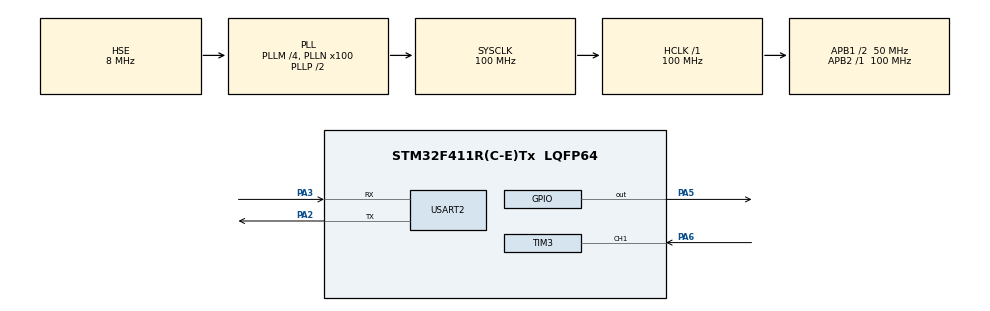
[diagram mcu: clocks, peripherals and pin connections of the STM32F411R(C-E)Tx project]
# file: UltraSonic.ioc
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Mcu.Family=STM32F4
Mcu.Name=STM32F411R(C-E)Tx
Mcu.Package=LQFP64
NVIC.PriorityGroup=NVIC_PRIORITYGROUP_4
NVIC.TIM3_IRQn=true\:0\:0\:false\:false\:true\:true\:true\:true
NVIC.USART2_IRQn=true\:0\:0\:false\:false\:true\:true\:true\:true
PA13.Mode=Serial_Wire
PA13.Signal=SYS_JTMS-SWDIO
PA14.Mode=Serial_Wire
PA14.Signal=SYS_JTCK-SWCLK
PA2.Mode=Asynchronous
PA2.Signal=USART2_TX
PA3.Mode=Asynchronous
PA3.Signal=USART2_RX
PA5.GPIO_Speed=GPIO_SPEED_FREQ_HIGH
PA5.Signal=GPIO_Output
PA6.Signal=S_TIM3_CH1
PH0\ -\ OSC_IN.Mode=HSE-External-Oscillator
PH0\ -\ OSC_IN.Signal=RCC_OSC_IN
PH1\ -\ OSC_OUT.Mode=HSE-External-Oscillator
PH1\ -\ OSC_OUT.Signal=RCC_OSC_OUT
ProjectManager.HeapSize=0x200
ProjectManager.StackSize=0x400
ProjectManager.TargetToolchain=STM32CubeIDE
RCC.48MHZClocksFreq_Value=50000000
RCC.AHBFreq_Value=100000000
RCC.APB1CLKDivider=RCC_HCLK_DIV2
RCC.APB1Freq_Value=50000000
RCC.APB1TimFreq_Value=100000000
RCC.APB2Freq_Value=100000000
RCC.APB2TimFreq_Value=100000000
RCC.CortexFreq_Value=100000000
RCC.HCLKFreq_Value=100000000
RCC.HSE_VALUE=8000000
RCC.HSI_VALUE=16000000
RCC.LSE_VALUE=32768
RCC.PLLM=4
RCC.PLLN=100
RCC.PLLSourceVirtual=RCC_PLLSOURCE_HSE
RCC.SYSCLKFreq_VALUE=100000000
RCC.SYSCLKSource=RCC_SYSCLKSOURCE_PLLCLK
RCC.VCOOutputFreq_Value=200000000
SH.S_TIM3_CH1.0=TIM3_CH1,Input_Capture1_from_TI1
TIM3.Channel-Input_Capture1_from_TI1=TIM_CHANNEL_1
TIM3.Prescaler=100-1
USART2.VirtualMode=VM_ASYNC
VP_TIM3_VS_ClockSourceINT.Mode=Internal
board=custom

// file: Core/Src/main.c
/* USER CODE BEGIN Header */
/**
  ******************************************************************************
  * @file           : main.c
  * @brief          : Main program body
  ******************************************************************************
  * @attention
  *
  * Copyright (c) 2023 STMicroelectronics.
  * All rights reserved.
  *
  * This software is licensed under terms that can be found in the LICENSE file
  * in the root directory of this software component.
  * If no LICENSE file comes with this software, it is provided AS-IS.
  *
  ******************************************************************************
  */
/* USER CODE END Header */
#include "main.h"
#include "tim.h"
#include "usart.h"
#include "gpio.h"

/* USER CODE BEGIN Includes */
#include "delay.h"
#include "stdio.h"
/* USER CODE END Includes */

/* USER CODE BEGIN PD */
#define TRIG_PORT GPIOA
#define TRIG_PIN GPIO_PIN_5
/* USER CODE END PD */

/* USER CODE BEGIN PM */
#ifdef __GNUC__
  /* With GCC, small printf (option LD Linker->Libraries->Small printf
     set to 'Yes') calls __io_putchar() */
#define PUTCHAR_PROTOTYPE int __io_putchar(int ch)
#else
#define PUTCHAR_PROTOTYPE int fputc(int ch, FILE *f)
#endif /* __GNUC__ */
PUTCHAR_PROTOTYPE
{
  /* Place your implementation of fputc here */
  /* e.g. write a character to the EVAL_COM1 and Loop until the end of transmission */
  HAL_UART_Transmit(&huart2, (uint8_t *)&ch, 1, 0xFFFF);

  return ch;
}

/* USER CODE END PM */

/* USER CODE BEGIN PV */
uint32_t INC_Value1=0;      // first capture
uint32_t INC_Value2=0;      // 2nd capture
uint32_t echoTime=0;        // between Rising, Falling
uint8_t captureFlag=0;
uint8_t distance=0;         // distance

/* USER CODE END PV */

void SystemClock_Config(void);
/* USER CODE BEGIN PFP */

void HAL_TIM_IC_CaptureCallback(TIM_HandleTypeDef *htim)
{
    if(htim->Channel == HAL_TIM_ACTIVE_CHANNEL_1)
    {
        if(captureFlag== 0) //first value not capture
        {
            INC_Value1 = HAL_TIM_ReadCapturedValue(&htim3,TIM_CHANNEL_1); //read the first value
            captureFlag = 1;

            __HAL_TIM_SET_CAPTUREPOLARITY(htim,TIM_CHANNEL_1,TIM_INPUTCHANNELPOLARITY_FALLING);
        }
        else if(captureFlag==1) //first is already value
        {
            INC_Value2= HAL_TIM_ReadCapturedValue(&htim3, TIM_CHANNEL_1);
            __HAL_TIM_SET_COUNTER(htim,0);
            if(INC_Value2 >INC_Value1)// normal
            {
                echoTime = INC_Value2-INC_Value1;
            }
            else if(INC_Value1 > INC_Value2)
            {
                echoTime= (0xffff-INC_Value1)+ INC_Value2;
            }
            distance = echoTime / 58;
            captureFlag = 0;

            __HAL_TIM_SET_CAPTUREPOLARITY(htim,TIM_CHANNEL_1,TIM_INPUTCHANNELPOLARITY_RISING);
            __HAL_TIM_DISABLE_IT(&htim3, TIM_IT_CC1);
        }
    }
}

void HCSR04(void) // Trig pin 10us
{
    HAL_GPIO_WritePin(TRIG_PORT, TRIG_PIN, GPIO_PIN_SET);
    delay_us(10);
    HAL_GPIO_WritePin(TRIG_PORT, TRIG_PIN, GPIO_PIN_RESET);

    __HAL_TIM_ENABLE_IT(&htim3,TIM_IT_CC1);
}
/* USER CODE END PFP */

int main(void)
{

  /* MCU Configuration--------------------------------------------------------*/

  /* Reset of all peripherals, Initializes the Flash interface and the Systick. */
  HAL_Init();

  /* Configure the system clock */
  SystemClock_Config();

  /* Initialize all configured peripherals */
  MX_GPIO_Init();
  MX_TIM3_Init();
  MX_USART2_UART_Init();
  /* USER CODE BEGIN 2 */
  HAL_TIM_IC_Start_IT(&htim3, TIM_CHANNEL_1);
  /* USER CODE END 2 */

  /* Infinite loop */
  while (1)
  {

    /* USER CODE BEGIN 3 */
    HCSR04();
    printf("%d cm\r\n",distance);
    HAL_Delay(500);
  }
  /* USER CODE END 3 */
}

void SystemClock_Config(void)
{
  RCC_OscInitTypeDef RCC_OscInitStruct = {0};
  RCC_ClkInitTypeDef RCC_ClkInitStruct = {0};

  /** Configure the main internal regulator output voltage
  */
  __HAL_RCC_PWR_CLK_ENABLE();
  __HAL_PWR_VOLTAGESCALING_CONFIG(PWR_REGULATOR_VOLTAGE_SCALE1);

  /** Initializes the RCC Oscillators according to the specified parameters
  * in the RCC_OscInitTypeDef structure.
  */
  RCC_OscInitStruct.OscillatorType = RCC_OSCILLATORTYPE_HSE;
  RCC_OscInitStruct.HSEState = RCC_HSE_ON;
  RCC_OscInitStruct.PLL.PLLState = RCC_PLL_ON;
  RCC_OscInitStruct.PLL.PLLSource = RCC_PLLSOURCE_HSE;
  RCC_OscInitStruct.PLL.PLLM = 4;
  RCC_OscInitStruct.PLL.PLLN = 100;
  RCC_OscInitStruct.PLL.PLLP = RCC_PLLP_DIV2;
  RCC_OscInitStruct.PLL.PLLQ = 4;
  if (HAL_RCC_OscConfig(&RCC_OscInitStruct) != HAL_OK)
  {
    Error_Handler();
  }

  /** Initializes the CPU, AHB and APB buses clocks
  */
  RCC_ClkInitStruct.ClockType = RCC_CLOCKTYPE_HCLK|RCC_CLOCKTYPE_SYSCLK
                              |RCC_CLOCKTYPE_PCLK1|RCC_CLOCKTYPE_PCLK2;
  RCC_ClkInitStruct.SYSCLKSource = RCC_SYSCLKSOURCE_PLLCLK;
  RCC_ClkInitStruct.AHBCLKDivider = RCC_SYSCLK_DIV1;
  RCC_ClkInitStruct.APB1CLKDivider = RCC_HCLK_DIV2;
  RCC_ClkInitStruct.APB2CLKDivider = RCC_HCLK_DIV1;

  if (HAL_RCC_ClockConfig(&RCC_ClkInitStruct, FLASH_LATENCY_3) != HAL_OK)
  {
    Error_Handler();
  }
}

void Error_Handler(void)
{
  __disable_irq();
  while (1)
  {
  }
}
